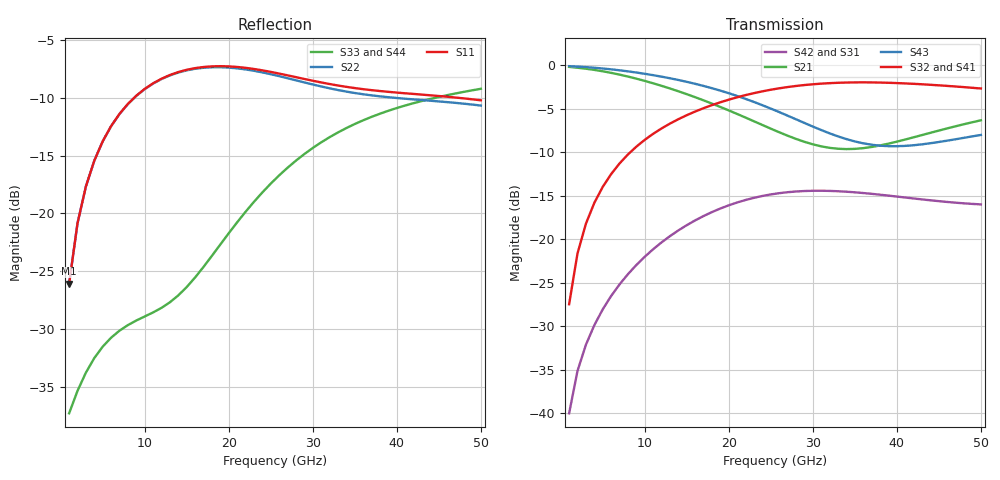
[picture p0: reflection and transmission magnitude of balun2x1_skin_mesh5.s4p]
! Created with skrf 2.2.0 (http://scikit-rf.org).
# GHz S DB R 50.0
! Port[1] = P1
! Port[2] = P2
! Port[3] = P3
! Port[4] = P4
!freq dBS11 angS11 dBS12 angS12 dBS13 angS13
! dBS14 angS14
! dBS21 angS21 dBS22 angS22 dBS23 angS23
! dBS24 angS24
! dBS31 angS31 dBS32 angS32 dBS33 angS33
! dBS34 angS34
! dBS41 angS41 dBS42 angS42 dBS43 angS43
! dBS44 angS44
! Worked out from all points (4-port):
!   50 points, 1 GHz to 50 GHz, reference 50 ohm
!   strongest paths, dB at 1 GHz, 13 GHz, 26 GHz, 38 GHz, 50 GHz:
!     S32: -27.5, -6.7, -2.7, -2.0, -2.7
!     S41: -27.5, -6.7, -2.7, -2.1, -2.7
!     S43: -0.1, -1.5, -5.4, -9.3, -8.0
!     S21: -0.2, -2.7, -7.7, -9.2, -6.3
!     S42: -40.0, -19.7, -14.7, -14.9, -16.0
!     S31: -40.0, -19.8, -15.0, -15.2, -16.2
!   lowest |S11| = -26.1 dB at 1 GHz (marker M1), VSWR 1.10, Z = 52.2 + j4.56 ohm
!   |S11| at or under -10 dB: start of sweep to 8.722 GHz; 47.44 GHz to end of sweep
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1  -26.09 61.4  -0.21 -5.4  -40.04 -112.1  -27.49 84.4
   -0.21 -5.4  -26.08 61.3  -27.49 84.4  -40.03 -112.3
   -40.04 -112.1  -27.49 84.4  -37.29 17.8  -0.13 -2.7
   -27.49 84.4  -40.03 -112.3  -0.13 -2.7  -37.28 17.8
4  -15.42 60.1  -0.55 -20.3  -29.94 -140.7  -15.83 73.3
   -0.55 -20.3  -15.43 59.8  -15.83 73.3  -29.90 -141.4
   -29.94 -140.7  -15.83 73.3  -32.51 17.9  -0.31 -10.3
   -15.83 73.3  -29.90 -141.4  -0.31 -10.3  -32.46 17.5
9  -9.80 39.0  -1.56 -43.9  -23.09 175.6  -9.38 55.5
   -1.56 -43.9  -9.82 38.3  -9.38 55.6  -22.98 174.4
   -23.09 175.6  -9.38 55.6  -29.26 -19.4  -0.86 -21.9
   -9.38 55.5  -22.98 174.4  -0.86 -21.9  -29.09 -20.4
17  -7.32 8.0  -4.05 -81.2  -17.57 116.1  -4.97 30.0
    -4.05 -81.2  -7.39 6.7  -4.95 30.0  -17.35 114.4
    -17.57 116.1  -4.95 30.0  -24.62 -112.6  -2.40 -38.5
    -4.97 30.0  -17.35 114.4  -2.40 -38.5  -24.22 -112.8
27  -8.05 -18.1  -8.12 -139.9  -14.93 58.3  -2.56 -0.2
    -8.12 -139.9  -8.29 -20.0  -2.53 -0.3  -14.61 55.9
    -14.93 58.3  -2.53 -0.3  -16.04 169.5  -5.81 -51.5
    -2.56 -0.2  -14.61 55.9  -5.81 -51.5  -15.76 169.8
39  -9.47 -31.8  -9.03 130.1  -15.34 12.4  -2.08 -32.8
    -9.03 130.1  -9.94 -32.7  -2.04 -33.1  -15.00 8.7
    -15.34 12.4  -2.04 -33.1  -11.11 117.9  -9.32 -37.0
    -2.08 -32.8  -15.00 8.7  -9.32 -37.0  -10.89 117.7
50  -10.21 -45.2  -6.35 79.5  -16.20 -8.8  -2.74 -56.3
    -6.35 79.5  -10.66 -45.3  -2.69 -56.9  -16.01 -13.7
    -16.20 -8.8  -2.69 -56.9  -9.21 89.3  -8.03 -26.0
    -2.74 -56.3  -16.01 -13.7  -8.03 -26.0  -9.02 88.7
